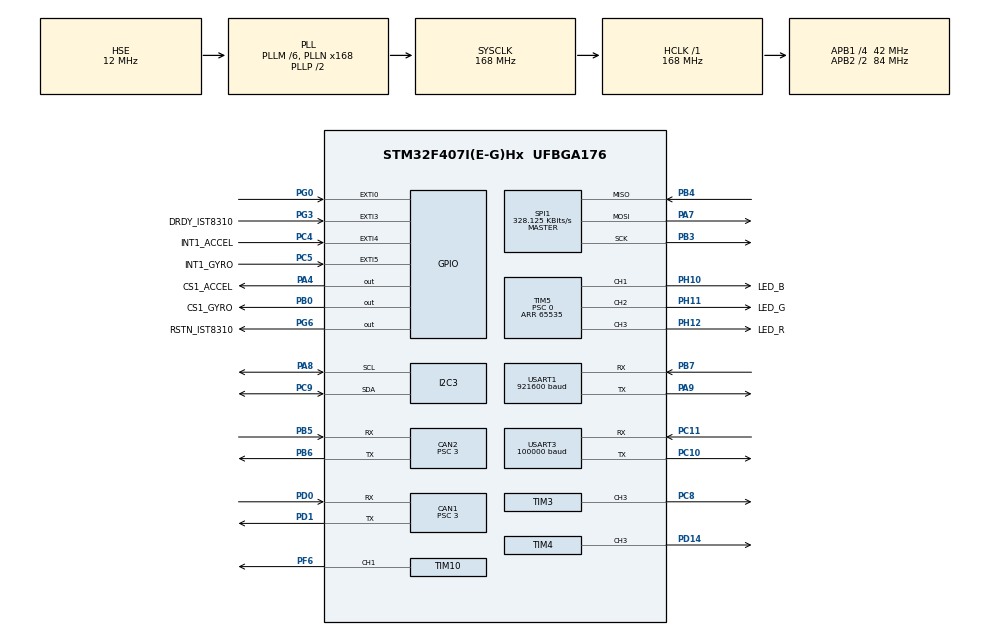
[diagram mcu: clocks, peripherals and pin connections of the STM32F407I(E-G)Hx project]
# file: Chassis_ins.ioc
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CAN1.BS1=CAN_BS1_10TQ
CAN1.BS2=CAN_BS2_3TQ
CAN1.CalculateTimeQuantum=71.42857142857143
CAN1.Prescaler=3
CAN2.BS1=CAN_BS1_10TQ
CAN2.BS2=CAN_BS2_3TQ
CAN2.CalculateTimeQuantum=71.42857142857143
CAN2.Prescaler=3
Dma.Request0=SPI1_RX
Dma.Request1=SPI1_TX
Dma.Request2=USART3_RX
Dma.Request3=USART1_TX
Dma.Request4=USART1_RX
Dma.SPI1_RX.0.Direction=DMA_PERIPH_TO_MEMORY
Dma.SPI1_RX.0.FIFOMode=DMA_FIFOMODE_DISABLE
Dma.SPI1_RX.0.Instance=DMA2_Stream2
Dma.SPI1_RX.0.MemDataAlignment=DMA_MDATAALIGN_BYTE
Dma.SPI1_RX.0.MemInc=DMA_MINC_ENABLE
Dma.SPI1_RX.0.Mode=DMA_NORMAL
Dma.SPI1_RX.0.PeriphDataAlignment=DMA_PDATAALIGN_BYTE
Dma.SPI1_RX.0.PeriphInc=DMA_PINC_DISABLE
Dma.SPI1_RX.0.Priority=DMA_PRIORITY_VERY_HIGH
Dma.SPI1_TX.1.Direction=DMA_MEMORY_TO_PERIPH
Dma.SPI1_TX.1.FIFOMode=DMA_FIFOMODE_DISABLE
Dma.SPI1_TX.1.Instance=DMA2_Stream3
Dma.SPI1_TX.1.MemDataAlignment=DMA_MDATAALIGN_BYTE
Dma.SPI1_TX.1.MemInc=DMA_MINC_ENABLE
Dma.SPI1_TX.1.Mode=DMA_NORMAL
Dma.SPI1_TX.1.PeriphDataAlignment=DMA_PDATAALIGN_BYTE
Dma.SPI1_TX.1.PeriphInc=DMA_PINC_DISABLE
Dma.SPI1_TX.1.Priority=DMA_PRIORITY_HIGH
Dma.USART1_RX.4.Direction=DMA_PERIPH_TO_MEMORY
Dma.USART1_RX.4.FIFOMode=DMA_FIFOMODE_DISABLE
Dma.USART1_RX.4.Instance=DMA2_Stream5
Dma.USART1_RX.4.MemDataAlignment=DMA_MDATAALIGN_BYTE
Dma.USART1_RX.4.MemInc=DMA_MINC_ENABLE
Dma.USART1_RX.4.Mode=DMA_NORMAL
Dma.USART1_RX.4.PeriphDataAlignment=DMA_PDATAALIGN_BYTE
Dma.USART1_RX.4.PeriphInc=DMA_PINC_DISABLE
Dma.USART1_RX.4.Priority=DMA_PRIORITY_VERY_HIGH
Dma.USART1_TX.3.Direction=DMA_MEMORY_TO_PERIPH
Dma.USART1_TX.3.FIFOMode=DMA_FIFOMODE_DISABLE
Dma.USART1_TX.3.Instance=DMA2_Stream7
Dma.USART1_TX.3.MemDataAlignment=DMA_MDATAALIGN_BYTE
Dma.USART1_TX.3.MemInc=DMA_MINC_ENABLE
Dma.USART1_TX.3.Mode=DMA_NORMAL
Dma.USART1_TX.3.PeriphDataAlignment=DMA_PDATAALIGN_BYTE
Dma.USART1_TX.3.PeriphInc=DMA_PINC_DISABLE
Dma.USART1_TX.3.Priority=DMA_PRIORITY_VERY_HIGH
Dma.USART3_RX.2.Direction=DMA_PERIPH_TO_MEMORY
Dma.USART3_RX.2.FIFOMode=DMA_FIFOMODE_DISABLE
Dma.USART3_RX.2.Instance=DMA1_Stream1
Dma.USART3_RX.2.MemDataAlignment=DMA_MDATAALIGN_BYTE
Dma.USART3_RX.2.MemInc=DMA_MINC_ENABLE
Dma.USART3_RX.2.Mode=DMA_NORMAL
Dma.USART3_RX.2.PeriphDataAlignment=DMA_PDATAALIGN_BYTE
Dma.USART3_RX.2.PeriphInc=DMA_PINC_DISABLE
Dma.USART3_RX.2.Priority=DMA_PRIORITY_HIGH
FREERTOS.INCLUDE_eTaskGetState=1
FREERTOS.INCLUDE_pcTaskGetTaskName=1
FREERTOS.INCLUDE_uxTaskGetStackHighWaterMark=1
FREERTOS.INCLUDE_vTaskCleanUpResources=1
FREERTOS.INCLUDE_vTaskDelayUntil=1
FREERTOS.INCLUDE_xEventGroupSetBitFromISR=1
FREERTOS.INCLUDE_xQueueGetMutexHolder=1
FREERTOS.INCLUDE_xSemaphoreGetMutexHolder=1
FREERTOS.INCLUDE_xTaskAbortDelay=1
FREERTOS.INCLUDE_xTaskGetCurrentTaskHandle=1
FREERTOS.INCLUDE_xTaskGetHandle=1
FREERTOS.INCLUDE_xTimerPendFunctionCall=1
FREERTOS.Tasks01=test,24,128,test_task,As weak,NULL,Dynamic,NULL,NULL
FREERTOS.configTOTAL_HEAP_SIZE=24576
I2C3.I2C_Mode=I2C_Fast
Mcu.Family=STM32F4
Mcu.Name=STM32F407I(E-G)Hx
Mcu.Package=UFBGA176
NVIC.CAN1_RX0_IRQn=true\:6\:0\:true\:false\:true\:true\:true\:true\:true
NVIC.CAN2_RX0_IRQn=true\:6\:0\:true\:false\:true\:true\:true\:true\:true
NVIC.DMA1_Stream1_IRQn=true\:5\:0\:true\:false\:false\:true\:false\:false\:true
NVIC.DMA2_Stream2_IRQn=true\:5\:0\:true\:false\:false\:true\:false\:true\:true
NVIC.DMA2_Stream3_IRQn=true\:5\:0\:true\:false\:false\:true\:false\:true\:true
NVIC.DMA2_Stream5_IRQn=true\:5\:0\:false\:false\:true\:true\:false\:true\:true
NVIC.DMA2_Stream7_IRQn=true\:5\:0\:false\:false\:true\:true\:false\:true\:true
NVIC.EXTI0_IRQn=true\:6\:0\:true\:false\:true\:true\:true\:true\:true
NVIC.EXTI3_IRQn=true\:5\:0\:true\:false\:true\:true\:true\:true\:true
NVIC.EXTI4_IRQn=true\:5\:0\:true\:false\:true\:true\:true\:true\:true
NVIC.EXTI9_5_IRQn=true\:5\:0\:true\:false\:true\:true\:true\:true\:true
NVIC.PriorityGroup=NVIC_PRIORITYGROUP_4
NVIC.USART1_IRQn=true\:5\:0\:false\:false\:true\:true\:true\:true\:true
NVIC.USART3_IRQn=true\:4\:0\:true\:false\:false\:false\:true\:true\:true
PA13.Mode=Serial_Wire
PA13.Signal=SYS_JTMS-SWDIO
PA14.Mode=Serial_Wire
PA14.Signal=SYS_JTCK-SWCLK
PA4.GPIO_Label=CS1_ACCEL
PA4.GPIO_PuPd=GPIO_PULLUP
PA4.GPIO_Speed=GPIO_SPEED_FREQ_HIGH
PA4.PinState=GPIO_PIN_SET
PA4.Signal=GPIO_Output
PA7.GPIO_PuPd=GPIO_PULLUP
PA7.Mode=Full_Duplex_Master
PA7.Signal=SPI1_MOSI
PA8.Mode=I2C
PA8.Signal=I2C3_SCL
PA9.Mode=Asynchronous
PA9.Signal=USART1_TX
PB0.GPIO_Label=CS1_GYRO
PB0.GPIO_PuPd=GPIO_PULLUP
PB0.GPIO_Speed=GPIO_SPEED_FREQ_HIGH
PB0.PinState=GPIO_PIN_SET
PB0.Signal=GPIO_Output
PB3.GPIO_PuPd=GPIO_PULLUP
PB3.Mode=Full_Duplex_Master
PB3.Signal=SPI1_SCK
PB4.GPIO_PuPd=GPIO_PULLUP
PB4.Mode=Full_Duplex_Master
PB4.Signal=SPI1_MISO
PB5.Mode=Slave
PB5.Signal=CAN2_RX
PB6.Mode=Slave
PB6.Signal=CAN2_TX
PB7.Mode=Asynchronous
PB7.Signal=USART1_RX
PC10.Mode=Asynchronous
PC10.Signal=USART3_TX
PC11.Mode=Asynchronous
PC11.Signal=USART3_RX
PC4.GPIO_Label=INT1_ACCEL
PC4.GPIO_ModeDefaultEXTI=GPIO_MODE_IT_FALLING
PC4.GPIO_PuPd=GPIO_PULLUP
PC4.Signal=GPXTI4
PC5.GPIO_Label=INT1_GYRO
PC5.GPIO_ModeDefaultEXTI=GPIO_MODE_IT_FALLING
PC5.GPIO_PuPd=GPIO_PULLUP
PC5.Signal=GPXTI5
PC8.GPIO_PuPd=GPIO_PULLUP
PC8.GPIO_Speed=GPIO_SPEED_FREQ_HIGH
PC8.Signal=S_TIM3_CH3
PC9.Mode=I2C
PC9.Signal=I2C3_SDA
PD0.Mode=Master
PD0.Signal=CAN1_RX
PD1.Mode=Master
PD1.Signal=CAN1_TX
PD14.GPIO_PuPd=GPIO_PULLUP
PD14.GPIO_Speed=GPIO_SPEED_FREQ_HIGH
PD14.Signal=S_TIM4_CH3
PF6.GPIO_PuPd=GPIO_PULLUP
PF6.GPIO_Speed=GPIO_SPEED_FREQ_HIGH
PF6.Signal=S_TIM10_CH1
PG0.GPIO_ModeDefaultEXTI=GPIO_MODE_IT_FALLING
PG0.GPIO_PuPd=GPIO_PULLUP
PG0.Signal=GPXTI0
PG3.GPIO_Label=DRDY_IST8310
PG3.GPIO_ModeDefaultEXTI=GPIO_MODE_IT_FALLING
PG3.GPIO_PuPd=GPIO_PULLUP
PG3.Signal=GPXTI3
PG6.GPIO_Label=RSTN_IST8310
PG6.GPIO_PuPd=GPIO_PULLUP
PG6.GPIO_Speed=GPIO_SPEED_FREQ_MEDIUM
PG6.PinState=GPIO_PIN_SET
PG6.Signal=GPIO_Output
PH0-OSC_IN.Mode=HSE-External-Oscillator
PH0-OSC_IN.Signal=RCC_OSC_IN
PH1-OSC_OUT.Mode=HSE-External-Oscillator
PH1-OSC_OUT.Signal=RCC_OSC_OUT
PH10.GPIO_Label=LED_B
PH10.GPIO_PuPd=GPIO_PULLUP
PH10.GPIO_Speed=GPIO_SPEED_FREQ_HIGH
PH10.Signal=S_TIM5_CH1
PH11.GPIO_Label=LED_G
PH11.GPIO_PuPd=GPIO_PULLUP
PH11.GPIO_Speed=GPIO_SPEED_FREQ_HIGH
PH11.Signal=S_TIM5_CH2
PH12.GPIO_Label=LED_R
PH12.GPIO_PuPd=GPIO_PULLUP
PH12.GPIO_Speed=GPIO_SPEED_FREQ_HIGH
PH12.Signal=S_TIM5_CH3
ProjectManager.HeapSize=0x2000
ProjectManager.StackSize=0x2000
ProjectManager.TargetToolchain=Makefile
RCC.48MHZClocksFreq_Value=48000000
RCC.AHBFreq_Value=168000000
RCC.APB1CLKDivider=RCC_HCLK_DIV4
RCC.APB1Freq_Value=42000000
RCC.APB1TimFreq_Value=84000000
RCC.APB2CLKDivider=RCC_HCLK_DIV2
RCC.APB2Freq_Value=84000000
RCC.APB2TimFreq_Value=168000000
RCC.CortexFreq_Value=168000000
RCC.HCLKFreq_Value=168000000
RCC.HSE_VALUE=12000000
RCC.HSI_VALUE=16000000
RCC.LSE_VALUE=32768
RCC.PLLM=6
RCC.PLLN=168
RCC.PLLQ=7
RCC.PLLSourceVirtual=RCC_PLLSOURCE_HSE
RCC.RCC_RTC_Clock_SourceVirtual=RCC_RTCCLKSOURCE_HSE_DIV30
RCC.RCC_RTC_Clock_Source_FROM_HSE=RCC_RTCCLKSOURCE_HSE_DIV30
RCC.SYSCLKFreq_VALUE=168000000
RCC.SYSCLKSource=RCC_SYSCLKSOURCE_PLLCLK
RCC.VCOOutputFreq_Value=336000000
RTC.AsynchPrediv=124
RTC.SynchPrediv=3199
SH.S_TIM10_CH1.0=TIM10_CH1,PWM Generation1 CH1
SH.S_TIM3_CH3.0=TIM3_CH3,PWM Generation3 CH3
SH.S_TIM4_CH3.0=TIM4_CH3,PWM Generation3 CH3
SH.S_TIM5_CH1.0=TIM5_CH1,PWM Generation1 CH1
SH.S_TIM5_CH2.0=TIM5_CH2,PWM Generation2 CH2
SH.S_TIM5_CH3.0=TIM5_CH3,PWM Generation3 CH3
SPI1.BaudRatePrescaler=SPI_BAUDRATEPRESCALER_256
SPI1.CLKPhase=SPI_PHASE_2EDGE
SPI1.CLKPolarity=SPI_POLARITY_HIGH
SPI1.CalculateBaudRate=328.125 KBits/s
SPI1.Direction=SPI_DIRECTION_2LINES
SPI1.Mode=SPI_MODE_MASTER
SPI1.VirtualType=VM_MASTER
TIM10.Channel=TIM_CHANNEL_1
TIM10.Period=4999
TIM3.Channel-PWM\ Generation3\ CH3=TIM_CHANNEL_3
TIM3.Period=8399
TIM4.Channel-PWM\ Generation3\ CH3=TIM_CHANNEL_3
TIM4.Period=65535
TIM4.Prescaler=167
TIM5.Channel-PWM\ Generation1\ CH1=TIM_CHANNEL_1
TIM5.Channel-PWM\ Generation2\ CH2=TIM_CHANNEL_2
TIM5.Channel-PWM\ Generation3\ CH3=TIM_CHANNEL_3
TIM5.Period=65535
TIM5.Prescaler=0
TIM8.Period=19999
TIM8.Prescaler=167
USART1.BaudRate=921600
USART1.VirtualMode=VM_ASYNC
USART3.BaudRate=100000
USART3.Parity=PARITY_EVEN
USART3.VirtualMode=VM_ASYNC
VP_FREERTOS_VS_CMSIS_V1.Mode=CMSIS_V1
VP_RTC_VS_RTC_Activate.Mode=RTC_Enabled
VP_TIM10_VS_ClockSourceINT.Mode=Enable_Timer
VP_TIM3_VS_ClockSourceINT.Mode=Internal
VP_TIM4_VS_ClockSourceINT.Mode=Internal
VP_TIM5_VS_ClockSourceINT.Mode=Internal
VP_TIM8_VS_ClockSourceINT.Mode=Internal
board=custom

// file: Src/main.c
/* USER CODE BEGIN Header */
/**
  ******************************************************************************
  * @file           : main.c
  * @brief          : Main program body
  ******************************************************************************
  * @attention
  *
  * <h2><center>&copy; Copyright (c) 2025 STMicroelectronics.
  * All rights reserved.</center></h2>
  *
  * This software component is licensed by ST under Ultimate Liberty license
  * SLA0044, the "License"; You may not use this file except in compliance with
  * the License. You may obtain a copy of the License at:
  *                             www.st.com/SLA0044
  *
  ******************************************************************************
  */
/* USER CODE END Header */

#include "main.h"
#include "cmsis_os.h"
#include "can.h"
#include "dma.h"
#include "i2c.h"
#include "rtc.h"
#include "spi.h"
#include "tim.h"
#include "usart.h"
#include "gpio.h"

/* USER CODE BEGIN Includes */
#include "INS_task.h"
#include "bsp_delay.h"
#include "detect_task.h"
#include "led_flow_task.h"
#include "remote_control.h"
#include "chassis_task.h"
#include "usb_cdc_test.h"
#include "usb_device.h"
#include "vision_input.h"
/* USER CODE END Includes */

void SystemClock_Config(void);
void MX_FREERTOS_Init(void);

/* USER CODE BEGIN 0 */
void usart_printf(const char *fmt,...)
{
  static uint8_t tx_buf[256] = {0};
  static va_list ap;
  static uint16_t len;
  va_start(ap, fmt);

  // Clamp debug output to the local buffer size.
  len = vsnprintf((char *)tx_buf, sizeof(tx_buf), fmt, ap);

  va_end(ap);

  HAL_UART_Transmit(&huart1, (uint8_t *)tx_buf, len, HAL_MAX_DELAY);

}
/* USER CODE END 0 */

int main(void)
{

  /* MCU Configuration--------------------------------------------------------*/

  /* Reset of all peripherals, Initializes the Flash interface and the Systick. */
  HAL_Init();

  /* Configure the system clock */
  SystemClock_Config();

  /* Initialize all configured peripherals */
  MX_GPIO_Init();
  MX_DMA_Init();
  MX_CAN1_Init();
  MX_CAN2_Init();
  MX_SPI1_Init();
  MX_TIM4_Init();
  MX_TIM5_Init();
  MX_USART3_UART_Init();
  MX_TIM8_Init();
  MX_I2C3_Init();
  MX_RTC_Init();
  MX_TIM3_Init();
  MX_TIM10_Init();
  MX_USART1_UART_Init();
  /* USER CODE BEGIN 2 */
  MX_USB_DEVICE_Init();
  delay_init();
  can_filter_init();
  // Force a clean USART3 reset on every cold boot so the DBUS/DMA receive path
  // starts from the same state as it does after reflashing.
  __HAL_RCC_USART3_FORCE_RESET();
  HAL_Delay(10);
  __HAL_RCC_USART3_RELEASE_RESET();
  MX_USART3_UART_Init();
  HAL_Delay(1500);
  remote_control_init();
  HAL_Delay(100);
  UsbCdcTest_Init();
  // USART1 is reserved for the vision link.
  VisionInput_StartReception();
  /* USER CODE END 2 */

  /* Call init function for freertos objects (in freertos.c) */
  MX_FREERTOS_Init();

  /* Start scheduler */
  osKernelStart();

  /* We should never get here as control is now taken by the scheduler */

  /* Infinite loop */
  while (1)
  {

  }
}

void SystemClock_Config(void)
{
  RCC_OscInitTypeDef RCC_OscInitStruct = {0};
  RCC_ClkInitTypeDef RCC_ClkInitStruct = {0};
  RCC_PeriphCLKInitTypeDef PeriphClkInitStruct = {0};

  /** Configure the main internal regulator output voltage
  */
  __HAL_RCC_PWR_CLK_ENABLE();
  __HAL_PWR_VOLTAGESCALING_CONFIG(PWR_REGULATOR_VOLTAGE_SCALE1);
  /** Initializes the CPU, AHB and APB busses clocks
  */
  RCC_OscInitStruct.OscillatorType = RCC_OSCILLATORTYPE_HSE;
  RCC_OscInitStruct.HSEState = RCC_HSE_ON;
  RCC_OscInitStruct.PLL.PLLState = RCC_PLL_ON;
  RCC_OscInitStruct.PLL.PLLSource = RCC_PLLSOURCE_HSE;
  RCC_OscInitStruct.PLL.PLLM = 6;
  RCC_OscInitStruct.PLL.PLLN = 168;
  RCC_OscInitStruct.PLL.PLLP = RCC_PLLP_DIV2;
  RCC_OscInitStruct.PLL.PLLQ = 7;
  if (HAL_RCC_OscConfig(&RCC_OscInitStruct) != HAL_OK)
  {
    Error_Handler();
  }
  /** Initializes the CPU, AHB and APB busses clocks
  */
  RCC_ClkInitStruct.ClockType = RCC_CLOCKTYPE_HCLK|RCC_CLOCKTYPE_SYSCLK
                              |RCC_CLOCKTYPE_PCLK1|RCC_CLOCKTYPE_PCLK2;
  RCC_ClkInitStruct.SYSCLKSource = RCC_SYSCLKSOURCE_PLLCLK;
  RCC_ClkInitStruct.AHBCLKDivider = RCC_SYSCLK_DIV1;
  RCC_ClkInitStruct.APB1CLKDivider = RCC_HCLK_DIV4;
  RCC_ClkInitStruct.APB2CLKDivider = RCC_HCLK_DIV2;

  if (HAL_RCC_ClockConfig(&RCC_ClkInitStruct, FLASH_LATENCY_5) != HAL_OK)
  {
    Error_Handler();
  }
  PeriphClkInitStruct.PeriphClockSelection = RCC_PERIPHCLK_RTC;
  PeriphClkInitStruct.RTCClockSelection = RCC_RTCCLKSOURCE_HSE_DIV30;
  if (HAL_RCCEx_PeriphCLKConfig(&PeriphClkInitStruct) != HAL_OK)
  {
    Error_Handler();
  }
}

void Error_Handler(void)
{
}

/************************ (C) COPYRIGHT STMicroelectronics *****END OF FILE****/
